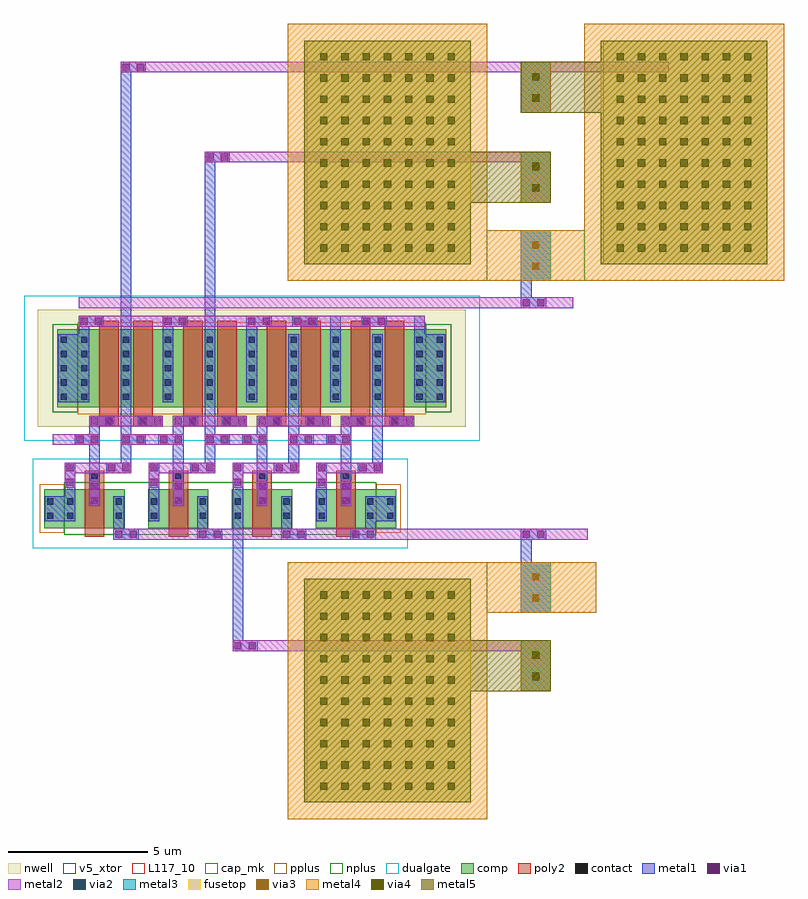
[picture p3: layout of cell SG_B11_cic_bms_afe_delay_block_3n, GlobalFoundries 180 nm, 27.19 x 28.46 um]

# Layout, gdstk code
from math import pi, radians
import gdstk
lib = gdstk.Library(unit=1e-6, precision=5e-09)
def R(c, l, rs):  # rectangles x0, y0, x1, y1
    for r in rs: c.add(gdstk.rectangle(r[:2], r[2:], *l))
def A(c, l, x, y, w, h, nx, ny, dx, dy):  # array of equal rectangles
    R(c, l, [(x+i*dx, y+j*dy, x+i*dx+w, y+j*dy+h) for i in range(nx) for j in range(ny)])
nwell = (21, 0)
comp = (22, 0)
poly2 = (30, 0)
pplus = (31, 0)
nplus = (32, 0)
contact = (33, 0)
metal1 = (34, 0)
via1 = (35, 0)
metal2 = (36, 0)
via2 = (38, 0)
via3 = (40, 0)
via4 = (41, 0)
metal3 = (42, 0)
metal4 = (46, 0)
dualgate = (55, 0)
fusetop = (75, 0)
metal5 = (81, 0)
v5_xtor = (112, 1)
cap_mk = (117, 5)
L117_10 = (117, 10)

pfet_14 = lib.new_cell('pfet$14')
R(pfet_14, nwell, [(-1.15,-0.69,4.42,3.49)])
R(pfet_14, comp, [(-0.46,0,0,2.8), (0,0,2.54,2.8), (2.54,0,3,2.8), (3,0,3.73,2.8)])
R(pfet_14, poly2, [(0.31,-0.68,1.01,-0.3), (1.53,-0.68,2.23,-0.3), (0.31,-0.3,1.01,3.1), (1.53,-0.3,2.23,3.1)])
R(pfet_14, pplus, [(-0.63,-0.24,3,3.04)])
R(pfet_14, nplus, [(3,-0.17,3.9,2.97)])
A(pfet_14, contact, -0.34, 0.27, 0.22, 0.22, 3, 5, 1.5, 0.51)
A(pfet_14, contact, 3.39, 0.27, 0.22, 0.22, 1, 5, 0, 0.51)
R(pfet_14, contact, [(0.55,-0.6,0.77,-0.38), (1.77,-0.6,1.99,-0.38)])
A(pfet_14, metal1, -0.42, 0.19, 0.38, 2.42, 3, 1, 1.5, 0)
R(pfet_14, metal1, [(0.47,-0.68,0.85,-0.3), (1.69,-0.68,2.07,-0.3), (3.31,0.19,3.69,2.61)])
R(pfet_14, dualgate, [(-1.65,-1.19,4.92,3.99)])
R(pfet_14, v5_xtor, [(-1.65,-1.19,4.92,3.99)])

nfet_1 = lib.new_cell('nfet$1')
R(nfet_1, comp, [(-0.42,0,0,1.4), (0,0,1.32,1.4), (1.32,0,1.74,1.4), (1.74,0,2.45,1.4)])
R(nfet_1, poly2, [(0.31,-0.3,1.01,1.7), (0.31,1.7,1.01,2.06)])
R(nfet_1, pplus, [(1.74,-0.17,2.62,1.57)])
R(nfet_1, nplus, [(-0.59,-0.24,1.74,1.64)])
R(nfet_1, contact, [(-0.32,0.335,-0.1,0.555), (1.42,0.335,1.64,0.555), (2.13,0.335,2.35,0.555), (-0.32,0.845,-0.1,1.065), (1.42,0.845,1.64,1.065), (2.13,0.845,2.35,1.065), (0.55,1.77,0.77,1.99)])
R(nfet_1, metal1, [(-0.4,0.255,-0.02,1.145), (1.34,0.255,1.72,1.145), (2.05,0.255,2.43,1.145), (0.47,1.69,0.85,2.07)])
R(nfet_1, dualgate, [(-0.84,-0.71,2.87,2.48)])
R(nfet_1, v5_xtor, [(-0.84,-0.71,2.87,2.48)])

sg_b11_cic_bms_afe_inv_1 = lib.new_cell('SG_B11_cic_bms_afe_inv_1x$5')
R(sg_b11_cic_bms_afe_inv_1, metal1, [(-0.42,0.66,0.67,1.55), (1.16,1.195,1.54,2.095), (0.29,1.855,0.67,2.755), (1.77,2.375,2.67,2.755), (0.64,3.385,1.54,3.765), (1.16,4.05,2.06,4.43), (2.9,4.05,3.8,4.43), (0.06,4.92,1.17,7.34)])
R(sg_b11_cic_bms_afe_inv_1, via1, [(1.22,1.255,1.48,1.515), (1.22,1.775,1.48,2.035), (0.35,1.915,0.61,2.175), (0.35,2.435,0.61,2.695), (1.83,2.435,2.09,2.695), (2.35,2.435,2.61,2.695), (0.7,3.445,0.96,3.705), (1.22,3.445,1.48,3.705), (1.22,4.11,1.48,4.37), (1.74,4.11,2,4.37), (2.96,4.11,3.22,4.37), (3.48,4.11,3.74,4.37)])
R(sg_b11_cic_bms_afe_inv_1, metal2, [(1.16,1.195,1.54,2.095), (0.29,1.855,0.67,2.755), (1.77,2.375,2.67,2.755), (0.64,3.385,1.54,3.765), (1.16,4.05,2.06,4.43), (2.9,4.05,3.8,4.43)])
sg_b11_cic_bms_afe_inv_1.add(gdstk.FlexPath([(0.98,4.92),(0.98,8)], 0.38, ends="flush", simple_path=True, layer=34, datatype=0))  # metal1
sg_b11_cic_bms_afe_inv_1.add(gdstk.FlexPath([(3.98,4.92),(3.98,8)], 0.38, ends="flush", simple_path=True, layer=34, datatype=0))  # metal1
sg_b11_cic_bms_afe_inv_1.add(gdstk.FlexPath([(1.35,2.095),(1.35,4.43)], 0.38, ends="flush", simple_path=True, layer=34, datatype=0))  # metal1
sg_b11_cic_bms_afe_inv_1.add(gdstk.FlexPath([(2.22,1.55),(2.22,0)], 0.38, ends="flush", simple_path=True, layer=34, datatype=0))  # metal1
sg_b11_cic_bms_afe_inv_1.add(gdstk.FlexPath([(0.48,0.66),(0.48,2.755)], 0.38, ends="flush", simple_path=True, layer=34, datatype=0))  # metal1
sg_b11_cic_bms_afe_inv_1.add(gdstk.FlexPath([(2.48,7.34),(2.48,2.375)], 0.38, ends="flush", simple_path=True, layer=34, datatype=0))  # metal1
sg_b11_cic_bms_afe_inv_1.add(gdstk.FlexPath([(1.68,4.24),(3.28,4.24)], 0.38, ends="flush", simple_path=True, layer=36, datatype=0))  # metal2
sg_b11_cic_bms_afe_inv_1.add(gdstk.FlexPath([(0.29,2.565),(2.61,2.565)], 0.38, ends="flush", simple_path=True, layer=36, datatype=0))  # metal2
sg_b11_cic_bms_afe_inv_1.add(gdstk.FlexPath([(-0.15,3.575),(1.54,3.575)], 0.38, ends="flush", simple_path=True, layer=36, datatype=0))  # metal2
sg_b11_cic_bms_afe_inv_1.add(gdstk.Reference(pfet_14, (3.75,4.73), rotation=pi, x_reflection=True))
sg_b11_cic_bms_afe_inv_1.add(gdstk.Reference(nfet_1, (2.01,0.405), rotation=pi, x_reflection=True))
sg_b11_cic_bms_afe_inv_1.add(gdstk.Label('VSS', (0.37,0.155), layer=34, texttype=10))
sg_b11_cic_bms_afe_inv_1.add(gdstk.Label('VDD', (1.59,7.77), layer=34, texttype=10))
sg_b11_cic_bms_afe_inv_1.add(gdstk.Label('OUT', (2.23,2.56), layer=36, texttype=10))
sg_b11_cic_bms_afe_inv_1.add(gdstk.Label('IN', (0.5,3.485), layer=36, texttype=10))

c_sg_b11_cic_bms_afe_inv_1 = lib.new_cell('SG_B11_cic_bms_afe_inv_1x$1$6')
R(c_sg_b11_cic_bms_afe_inv_1, metal1, [(2.03,0.66,3.12,1.55), (1.16,1.195,1.54,2.095), (0.29,1.855,0.67,2.755), (1.77,2.375,2.67,2.755), (0.64,3.385,1.54,3.765), (1.16,4.05,2.06,4.43), (2.9,4.05,3.8,4.43), (3.79,4.92,4.9,7.34)])
R(c_sg_b11_cic_bms_afe_inv_1, via1, [(1.22,1.255,1.48,1.515), (1.22,1.775,1.48,2.035), (0.35,1.915,0.61,2.175), (0.35,2.435,0.61,2.695), (1.83,2.435,2.09,2.695), (2.35,2.435,2.61,2.695), (0.7,3.445,0.96,3.705), (1.22,3.445,1.48,3.705), (1.22,4.11,1.48,4.37), (1.74,4.11,2,4.37), (2.96,4.11,3.22,4.37), (3.48,4.11,3.74,4.37)])
R(c_sg_b11_cic_bms_afe_inv_1, metal2, [(1.16,1.195,1.54,2.095), (0.29,1.855,0.67,2.755), (1.77,2.375,2.67,2.755), (0.64,3.385,1.54,3.765), (1.16,4.05,2.06,4.43), (2.9,4.05,3.8,4.43)])
c_sg_b11_cic_bms_afe_inv_1.add(gdstk.FlexPath([(0.98,4.92),(0.98,8)], 0.38, ends="flush", simple_path=True, layer=34, datatype=0))  # metal1
c_sg_b11_cic_bms_afe_inv_1.add(gdstk.FlexPath([(3.98,4.92),(3.98,8)], 0.38, ends="flush", simple_path=True, layer=34, datatype=0))  # metal1
c_sg_b11_cic_bms_afe_inv_1.add(gdstk.FlexPath([(1.35,2.095),(1.35,4.43)], 0.38, ends="flush", simple_path=True, layer=34, datatype=0))  # metal1
c_sg_b11_cic_bms_afe_inv_1.add(gdstk.FlexPath([(2.22,1.55),(2.22,0)], 0.38, ends="flush", simple_path=True, layer=34, datatype=0))  # metal1
c_sg_b11_cic_bms_afe_inv_1.add(gdstk.FlexPath([(0.48,0.66),(0.48,2.755)], 0.38, ends="flush", simple_path=True, layer=34, datatype=0))  # metal1
c_sg_b11_cic_bms_afe_inv_1.add(gdstk.FlexPath([(2.48,7.34),(2.48,2.375)], 0.38, ends="flush", simple_path=True, layer=34, datatype=0))  # metal1
c_sg_b11_cic_bms_afe_inv_1.add(gdstk.FlexPath([(1.68,4.24),(3.28,4.24)], 0.38, ends="flush", simple_path=True, layer=36, datatype=0))  # metal2
c_sg_b11_cic_bms_afe_inv_1.add(gdstk.FlexPath([(0.29,2.565),(2.61,2.565)], 0.38, ends="flush", simple_path=True, layer=36, datatype=0))  # metal2
c_sg_b11_cic_bms_afe_inv_1.add(gdstk.FlexPath([(-0.15,3.575),(1.54,3.575)], 0.38, ends="flush", simple_path=True, layer=36, datatype=0))  # metal2
c_sg_b11_cic_bms_afe_inv_1.add(gdstk.Reference(pfet_14, (1.21,4.73)))
c_sg_b11_cic_bms_afe_inv_1.add(gdstk.Reference(nfet_1, (0.69,0.405)))
c_sg_b11_cic_bms_afe_inv_1.add(gdstk.Label('VSS', (0.37,0.155), layer=34, texttype=10))
c_sg_b11_cic_bms_afe_inv_1.add(gdstk.Label('VDD', (1.59,7.77), layer=34, texttype=10))
c_sg_b11_cic_bms_afe_inv_1.add(gdstk.Label('OUT', (2.23,2.56), layer=36, texttype=10))
c_sg_b11_cic_bms_afe_inv_1.add(gdstk.Label('IN', (0.5,3.485), layer=36, texttype=10))

pfet_2_7 = lib.new_cell('pfet$2$7')
R(pfet_2_7, nwell, [(-1.07,-0.61,3.61,3.41)])
R(pfet_2_7, comp, [(-0.46,0,0,2.8), (0,0,2.54,2.8), (2.54,0,3,2.8)])
R(pfet_2_7, poly2, [(0.31,-0.68,1.01,-0.3), (1.53,-0.68,2.23,-0.3), (0.31,-0.3,1.01,3.1), (1.53,-0.3,2.23,3.1)])
R(pfet_2_7, pplus, [(-0.63,-0.24,3.17,3.04)])
A(pfet_2_7, contact, -0.34, 0.27, 0.22, 0.22, 3, 5, 1.5, 0.51)
R(pfet_2_7, contact, [(0.55,-0.6,0.77,-0.38), (1.77,-0.6,1.99,-0.38)])
A(pfet_2_7, metal1, -0.42, 0.19, 0.38, 2.42, 3, 1, 1.5, 0)
R(pfet_2_7, metal1, [(0.47,-0.68,0.85,-0.3), (1.69,-0.68,2.07,-0.3)])
R(pfet_2_7, dualgate, [(-1.57,-1.11,4.11,3.91), (-0.88,-1.09,3.42,3.51)])
R(pfet_2_7, v5_xtor, [(-1.57,-1.11,4.11,3.91), (-0.88,-1.09,3.42,3.51)])

nfet_2_8 = lib.new_cell('nfet$2$8')
R(nfet_2_8, comp, [(-0.42,0,0,1.4), (0,0,1.32,1.4), (1.32,0,1.74,1.4)])
R(nfet_2_8, poly2, [(0.31,-0.3,1.01,1.7), (0.31,1.7,1.01,2.06)])
R(nfet_2_8, nplus, [(-0.59,-0.24,1.91,1.64)])
R(nfet_2_8, contact, [(-0.32,0.335,-0.1,0.555), (1.42,0.335,1.64,0.555), (-0.32,0.845,-0.1,1.065), (1.42,0.845,1.64,1.065), (0.55,1.77,0.77,1.99)])
R(nfet_2_8, metal1, [(-0.4,0.255,-0.02,1.145), (1.34,0.255,1.72,1.145), (0.47,1.69,0.85,2.07)])
R(nfet_2_8, dualgate, [(-0.84,-0.71,2.16,2.48)])
R(nfet_2_8, v5_xtor, [(-0.84,-0.71,2.16,2.48)])

sg_cic_bms_nocg_inv_1x_2 = lib.new_cell('SG_cic_bms_nocg_inv_1x$2$1')
R(sg_cic_bms_nocg_inv_1x_2, metal1, [(1.16,1.195,1.54,2.095), (0.29,1.855,0.67,2.755), (1.77,2.375,2.67,2.755), (0.64,3.385,1.54,3.765), (1.16,4.05,2.06,4.43), (2.9,4.05,3.8,4.43)])
R(sg_cic_bms_nocg_inv_1x_2, via1, [(1.22,1.255,1.48,1.515), (1.22,1.775,1.48,2.035), (0.35,1.915,0.61,2.175), (0.35,2.435,0.61,2.695), (1.83,2.435,2.09,2.695), (2.35,2.435,2.61,2.695), (0.7,3.445,0.96,3.705), (1.22,3.445,1.48,3.705), (1.22,4.11,1.48,4.37), (1.74,4.11,2,4.37), (2.96,4.11,3.22,4.37), (3.48,4.11,3.74,4.37)])
R(sg_cic_bms_nocg_inv_1x_2, metal2, [(1.16,1.195,1.54,2.095), (0.29,1.855,0.67,2.755), (1.77,2.375,2.67,2.755), (0.64,3.385,1.54,3.765), (1.16,4.05,2.06,4.43), (2.9,4.05,3.8,4.43)])
sg_cic_bms_nocg_inv_1x_2.add(gdstk.FlexPath([(0.98,4.92),(0.98,8)], 0.38, ends="flush", simple_path=True, layer=34, datatype=0))  # metal1
sg_cic_bms_nocg_inv_1x_2.add(gdstk.FlexPath([(3.98,4.92),(3.98,8)], 0.38, ends="flush", simple_path=True, layer=34, datatype=0))  # metal1
sg_cic_bms_nocg_inv_1x_2.add(gdstk.FlexPath([(1.35,2.095),(1.35,4.43)], 0.38, ends="flush", simple_path=True, layer=34, datatype=0))  # metal1
sg_cic_bms_nocg_inv_1x_2.add(gdstk.FlexPath([(2.22,1.55),(2.22,0)], 0.38, ends="flush", simple_path=True, layer=34, datatype=0))  # metal1
sg_cic_bms_nocg_inv_1x_2.add(gdstk.FlexPath([(0.48,0.66),(0.48,2.755)], 0.38, ends="flush", simple_path=True, layer=34, datatype=0))  # metal1
sg_cic_bms_nocg_inv_1x_2.add(gdstk.FlexPath([(2.48,7.34),(2.48,2.375)], 0.38, ends="flush", simple_path=True, layer=34, datatype=0))  # metal1
sg_cic_bms_nocg_inv_1x_2.add(gdstk.FlexPath([(1.68,4.24),(3.28,4.24)], 0.38, ends="flush", simple_path=True, layer=36, datatype=0))  # metal2
sg_cic_bms_nocg_inv_1x_2.add(gdstk.FlexPath([(0.29,2.565),(2.61,2.565)], 0.38, ends="flush", simple_path=True, layer=36, datatype=0))  # metal2
sg_cic_bms_nocg_inv_1x_2.add(gdstk.FlexPath([(-0.15,3.575),(1.54,3.575)], 0.38, ends="flush", simple_path=True, layer=36, datatype=0))  # metal2
sg_cic_bms_nocg_inv_1x_2.add(gdstk.Reference(pfet_2_7, (1.21,4.73)))
sg_cic_bms_nocg_inv_1x_2.add(gdstk.Reference(nfet_2_8, (0.69,0.405)))
sg_cic_bms_nocg_inv_1x_2.add(gdstk.Label('VSS', (0.37,0.155), layer=34, texttype=10))
sg_cic_bms_nocg_inv_1x_2.add(gdstk.Label('VDD', (1.59,7.77), layer=34, texttype=10))
sg_cic_bms_nocg_inv_1x_2.add(gdstk.Label('OUT', (2.23,2.56), layer=36, texttype=10))
sg_cic_bms_nocg_inv_1x_2.add(gdstk.Label('IN', (0.5,3.485), layer=36, texttype=10))

sg_cic_bms_nocg_inv_1x_3 = lib.new_cell('SG_cic_bms_nocg_inv_1x$3$1')
R(sg_cic_bms_nocg_inv_1x_3, metal1, [(1.16,1.195,1.54,2.095), (0.29,1.855,0.67,2.755), (1.77,2.375,2.67,2.755), (0.64,3.385,1.54,3.765), (1.16,4.05,2.06,4.43), (2.9,4.05,3.8,4.43)])
R(sg_cic_bms_nocg_inv_1x_3, via1, [(1.22,1.255,1.48,1.515), (1.22,1.775,1.48,2.035), (0.35,1.915,0.61,2.175), (0.35,2.435,0.61,2.695), (1.83,2.435,2.09,2.695), (2.35,2.435,2.61,2.695), (0.7,3.445,0.96,3.705), (1.22,3.445,1.48,3.705), (1.22,4.11,1.48,4.37), (1.74,4.11,2,4.37), (2.96,4.11,3.22,4.37), (3.48,4.11,3.74,4.37)])
R(sg_cic_bms_nocg_inv_1x_3, metal2, [(1.16,1.195,1.54,2.095), (0.29,1.855,0.67,2.755), (1.77,2.375,2.67,2.755), (0.64,3.385,1.54,3.765), (1.16,4.05,2.06,4.43), (2.9,4.05,3.8,4.43)])
sg_cic_bms_nocg_inv_1x_3.add(gdstk.FlexPath([(0.98,4.92),(0.98,8)], 0.38, ends="flush", simple_path=True, layer=34, datatype=0))  # metal1
sg_cic_bms_nocg_inv_1x_3.add(gdstk.FlexPath([(3.98,4.92),(3.98,8)], 0.38, ends="flush", simple_path=True, layer=34, datatype=0))  # metal1
sg_cic_bms_nocg_inv_1x_3.add(gdstk.FlexPath([(1.35,2.095),(1.35,4.43)], 0.38, ends="flush", simple_path=True, layer=34, datatype=0))  # metal1
sg_cic_bms_nocg_inv_1x_3.add(gdstk.FlexPath([(2.22,1.55),(2.22,0)], 0.38, ends="flush", simple_path=True, layer=34, datatype=0))  # metal1
sg_cic_bms_nocg_inv_1x_3.add(gdstk.FlexPath([(0.48,0.66),(0.48,2.755)], 0.38, ends="flush", simple_path=True, layer=34, datatype=0))  # metal1
sg_cic_bms_nocg_inv_1x_3.add(gdstk.FlexPath([(2.48,7.34),(2.48,2.375)], 0.38, ends="flush", simple_path=True, layer=34, datatype=0))  # metal1
sg_cic_bms_nocg_inv_1x_3.add(gdstk.FlexPath([(1.68,4.24),(3.28,4.24)], 0.38, ends="flush", simple_path=True, layer=36, datatype=0))  # metal2
sg_cic_bms_nocg_inv_1x_3.add(gdstk.FlexPath([(0.29,2.565),(2.61,2.565)], 0.38, ends="flush", simple_path=True, layer=36, datatype=0))  # metal2
sg_cic_bms_nocg_inv_1x_3.add(gdstk.FlexPath([(-0.15,3.575),(1.54,3.575)], 0.38, ends="flush", simple_path=True, layer=36, datatype=0))  # metal2
sg_cic_bms_nocg_inv_1x_3.add(gdstk.Reference(pfet_2_7, (1.21,4.73)))
sg_cic_bms_nocg_inv_1x_3.add(gdstk.Reference(nfet_2_8, (0.69,0.405)))
sg_cic_bms_nocg_inv_1x_3.add(gdstk.Label('VSS', (0.37,0.155), layer=34, texttype=10))
sg_cic_bms_nocg_inv_1x_3.add(gdstk.Label('VDD', (1.59,7.77), layer=34, texttype=10))
sg_cic_bms_nocg_inv_1x_3.add(gdstk.Label('OUT', (2.23,2.56), layer=36, texttype=10))
sg_cic_bms_nocg_inv_1x_3.add(gdstk.Label('IN', (0.5,3.485), layer=36, texttype=10))

cap_mim_10 = lib.new_cell('cap_mim$10')
A(cap_mim_10, via4, 0.45, 0.565, 0.26, 0.26, 10, 7, 0.76, 0.76)
R(cap_mim_10, metal4, [(-0.6,-0.6,8.6,6.55)])
R(cap_mim_10, fusetop, [(0,0,8,5.95)])
R(cap_mim_10, metal5, [(0,0,8,5.95)])
R(cap_mim_10, cap_mk, [(-0.6,-0.6,8.6,6.55)])
R(cap_mim_10, L117_10, [(0,0,8,0.1)])

sg_b11_cic_bms_afe_delay = lib.new_cell('SG_B11_cic_bms_afe_delay_block_3n')
R(sg_b11_cic_bms_afe_delay, nwell, [(-6.395,4.04,8.095,8.22)])
R(sg_b11_cic_bms_afe_delay, nplus, [(-6.265,0.165,4.895,2.045)])
A(sg_b11_cic_bms_afe_delay, metal1, -4.505, 0, 0.9, 0.38, 3, 1, 3, 0)
A(sg_b11_cic_bms_afe_delay, metal1, -4.245, 3.385, 0.9, 0.38, 3, 1, 3, 0)
A(sg_b11_cic_bms_afe_delay, metal1, -5.745, 7.62, 0.9, 0.38, 3, 1, 3, 0)
R(sg_b11_cic_bms_afe_delay, metal1, [(10.075,-5.43,11.135,-3.61), (10.075,-5.43,11.135,-3.61), (-0.245,-3.99,0.655,-3.61), (10.075,-2.625,11.135,-0.805), (10.075,-2.625,11.135,-0.805), (3.975,0,4.875,0.38), (10.075,0,10.975,0.38), (1.89,7.62,2.79,8), (4.37,7.62,5.27,8), (10.075,8.28,10.975,8.66), (10.075,9.25,11.135,11.07), (10.075,9.25,11.135,11.07), (10.075,12.055,11.135,13.875), (10.075,12.055,11.135,13.875), (-1.245,13.495,-0.345,13.875), (10.075,15.27,11.135,17.09), (10.075,15.27,11.135,17.09), (-4.245,16.71,-3.345,17.09)])
R(sg_b11_cic_bms_afe_delay, via1, [(10.475,-5.03,10.735,-4.77), (10.475,-4.27,10.735,-4.01), (-0.185,-3.93,0.075,-3.67), (0.335,-3.93,0.595,-3.67), (10.475,-2.225,10.735,-1.965), (10.475,-1.465,10.735,-1.205), (-4.445,0.06,-4.185,0.32), (-3.925,0.06,-3.665,0.32), (-1.445,0.06,-1.185,0.32), (-0.925,0.06,-0.665,0.32), (1.555,0.06,1.815,0.32), (2.075,0.06,2.335,0.32), (4.035,0.06,4.295,0.32), (4.555,0.06,4.815,0.32), (10.135,0.06,10.395,0.32), (10.655,0.06,10.915,0.32), (-4.185,3.445,-3.925,3.705), (-3.665,3.445,-3.405,3.705), (-1.185,3.445,-0.925,3.705), (-0.665,3.445,-0.405,3.705), (1.815,3.445,2.075,3.705), (2.335,3.445,2.595,3.705), (-5.685,7.68,-5.425,7.94), (-5.165,7.68,-4.905,7.94), (-2.685,7.68,-2.425,7.94), (-2.165,7.68,-1.905,7.94), (0.315,7.68,0.575,7.94), (0.835,7.68,1.095,7.94), (1.95,7.68,2.21,7.94), (2.47,7.68,2.73,7.94), (4.43,7.68,4.69,7.94), (4.95,7.68,5.21,7.94), (10.135,8.34,10.395,8.6), (10.655,8.34,10.915,8.6), (10.475,9.65,10.735,9.91), (10.475,10.41,10.735,10.67), (10.475,12.455,10.735,12.715), (10.475,13.215,10.735,13.475), (-1.185,13.555,-0.925,13.815), (-0.665,13.555,-0.405,13.815), (10.475,15.67,10.735,15.93), (10.475,16.43,10.735,16.69), (-4.185,16.77,-3.925,17.03), (-3.665,16.77,-3.405,17.03)])
A(sg_b11_cic_bms_afe_delay, metal2, -4.505, 0, 0.9, 0.38, 3, 1, 3, 0)
A(sg_b11_cic_bms_afe_delay, metal2, -4.245, 3.385, 0.9, 0.38, 3, 1, 3, 0)
A(sg_b11_cic_bms_afe_delay, metal2, -5.745, 7.62, 0.9, 0.38, 3, 1, 3, 0)
R(sg_b11_cic_bms_afe_delay, metal2, [(10.075,-5.43,11.135,-3.61), (-0.245,-3.99,0.655,-3.61), (10.075,-2.625,11.135,-0.805), (3.975,0,4.875,0.38), (10.075,0,10.975,0.38), (1.89,7.62,2.79,8), (4.37,7.62,5.27,8), (10.075,8.28,10.975,8.66), (10.075,9.25,11.135,11.07), (10.075,12.055,11.135,13.875), (-1.245,13.495,-0.345,13.875), (10.075,15.27,11.135,17.09), (-4.245,16.71,-3.345,17.09)])
R(sg_b11_cic_bms_afe_delay, via2, [(10.475,-5.03,10.735,-4.77), (10.475,-5.03,10.735,-4.77), (10.475,-4.27,10.735,-4.01), (10.475,-4.27,10.735,-4.01), (10.475,-2.225,10.735,-1.965), (10.475,-2.225,10.735,-1.965), (10.475,-1.465,10.735,-1.205), (10.475,-1.465,10.735,-1.205), (10.475,9.65,10.735,9.91), (10.475,9.65,10.735,9.91), (10.475,10.41,10.735,10.67), (10.475,10.41,10.735,10.67), (10.475,12.455,10.735,12.715), (10.475,12.455,10.735,12.715), (10.475,13.215,10.735,13.475), (10.475,13.215,10.735,13.475), (10.475,15.67,10.735,15.93), (10.475,15.67,10.735,15.93), (10.475,16.43,10.735,16.69), (10.475,16.43,10.735,16.69)])
R(sg_b11_cic_bms_afe_delay, via3, [(10.475,-5.03,10.735,-4.77), (10.475,-4.27,10.735,-4.01), (10.475,-2.225,10.735,-1.965), (10.475,-1.465,10.735,-1.205), (10.475,9.65,10.735,9.91), (10.475,10.41,10.735,10.67), (10.475,12.455,10.735,12.715), (10.475,13.215,10.735,13.475), (10.475,15.67,10.735,15.93), (10.475,16.43,10.735,16.69)])
R(sg_b11_cic_bms_afe_delay, via4, [(10.475,-5.03,10.735,-4.77), (10.475,-4.27,10.735,-4.01), (10.475,12.455,10.735,12.715), (10.475,13.215,10.735,13.475), (10.475,15.67,10.735,15.93), (10.475,16.43,10.735,16.69)])
R(sg_b11_cic_bms_afe_delay, metal3, [(10.075,-5.43,11.135,-3.61), (10.075,-2.625,11.135,-0.805), (10.075,9.25,11.135,11.07), (10.075,12.055,11.135,13.875), (10.075,15.27,11.135,17.09)])
R(sg_b11_cic_bms_afe_delay, metal4, [(10.075,-5.43,11.135,-3.61), (8.555,-2.625,11.135,-0.805), (10.075,-2.625,12.775,-0.805), (10.075,-2.625,11.135,-0.805), (8.555,9.25,11.135,11.07), (10.075,9.25,12.775,11.07), (10.075,9.25,11.135,11.07), (10.075,12.055,11.135,13.875), (10.075,15.27,11.135,17.09)])
R(sg_b11_cic_bms_afe_delay, dualgate, [(-6.895,3.54,8.595,8.72)])
R(sg_b11_cic_bms_afe_delay, metal5, [(5.85,-5.43,11.135,-3.61), (10.075,-5.43,11.135,-3.61), (5.85,12.055,11.135,13.875), (10.075,12.055,11.135,13.875), (10.075,15.27,15.36,17.09), (10.075,15.27,11.135,17.09)])
R(sg_b11_cic_bms_afe_delay, v5_xtor, [(-6.895,3.54,8.595,8.72)])
sg_b11_cic_bms_afe_delay.add(gdstk.FlexPath([(10.265,11.07),(10.265,8.28)], 0.38, ends="flush", simple_path=True, layer=34, datatype=0))  # metal1
sg_b11_cic_bms_afe_delay.add(gdstk.FlexPath([(-0.055,1.55),(-0.055,-3.99)], 0.38, ends="flush", simple_path=True, layer=34, datatype=0))  # metal1
sg_b11_cic_bms_afe_delay.add(gdstk.FlexPath([(-1.055,4.92),(-1.055,13.875)], 0.38, ends="flush", simple_path=True, layer=34, datatype=0))  # metal1
sg_b11_cic_bms_afe_delay.add(gdstk.FlexPath([(10.265,-2.625),(10.265,0.38),(10.265,0.38)], 0.38, ends="flush", simple_path=True, layer=34, datatype=0))  # metal1
sg_b11_cic_bms_afe_delay.add(gdstk.FlexPath([(-4.055,4.92),(-4.055,17.09)], 0.38, ends="flush", simple_path=True, layer=34, datatype=0))  # metal1
sg_b11_cic_bms_afe_delay.add(gdstk.FlexPath([(1.755,3.575),(4.005,3.575),(4.005,3.575)], 0.38, ends="flush", simple_path=True, layer=36, datatype=0))  # metal2
sg_b11_cic_bms_afe_delay.add(gdstk.FlexPath([(-1.245,3.575),(1.005,3.575),(1.005,3.575)], 0.38, ends="flush", simple_path=True, layer=36, datatype=0))  # metal2
sg_b11_cic_bms_afe_delay.add(gdstk.FlexPath([(-4.245,3.575),(-1.995,3.575),(-1.995,3.575)], 0.38, ends="flush", simple_path=True, layer=36, datatype=0))  # metal2
sg_b11_cic_bms_afe_delay.add(gdstk.FlexPath([(4.875,0.19),(-4.505,0.19)], 0.38, ends="flush", simple_path=True, layer=36, datatype=0))  # metal2
sg_b11_cic_bms_afe_delay.add(gdstk.FlexPath([(-5.745,7.81),(6.635,7.81)], 0.38, ends="flush", simple_path=True, layer=36, datatype=0))  # metal2
sg_b11_cic_bms_afe_delay.add(gdstk.FlexPath([(11.135,-3.8),(-0.245,-3.8)], 0.38, ends="flush", simple_path=True, layer=36, datatype=0))  # metal2
sg_b11_cic_bms_afe_delay.add(gdstk.FlexPath([(11.135,13.685),(-1.245,13.685)], 0.38, ends="flush", simple_path=True, layer=36, datatype=0))  # metal2
sg_b11_cic_bms_afe_delay.add(gdstk.FlexPath([(15.36,16.9),(-4.245,16.9)], 0.38, ends="flush", simple_path=True, layer=36, datatype=0))  # metal2
sg_b11_cic_bms_afe_delay.add(gdstk.FlexPath([(-5.745,8.47),(11.945,8.47)], 0.38, ends="flush", simple_path=True, layer=36, datatype=0))  # metal2
sg_b11_cic_bms_afe_delay.add(gdstk.FlexPath([(3.975,0.19),(12.455,0.19)], 0.38, ends="flush", simple_path=True, layer=36, datatype=0))  # metal2
sg_b11_cic_bms_afe_delay.add(gdstk.Reference(sg_b11_cic_bms_afe_inv_1, (-6.535,0)))
sg_b11_cic_bms_afe_delay.add(gdstk.Reference(c_sg_b11_cic_bms_afe_inv_1, (2.465,0)))
sg_b11_cic_bms_afe_delay.add(gdstk.Reference(sg_cic_bms_nocg_inv_1x_2, (-3.535,0)))
sg_b11_cic_bms_afe_delay.add(gdstk.Reference(sg_cic_bms_nocg_inv_1x_3, (-0.535,0)))
sg_b11_cic_bms_afe_delay.add(gdstk.Reference(cap_mim_10, (12.935,17.85), rotation=3*pi/2))
sg_b11_cic_bms_afe_delay.add(gdstk.Reference(cap_mim_10, (2.325,-1.405), rotation=3*pi/2))
sg_b11_cic_bms_afe_delay.add(gdstk.Reference(cap_mim_10, (2.325,17.85), rotation=3*pi/2))

lib.write_gds('SG_B11_cic_bms_afe_delay_block_3n.gds')
